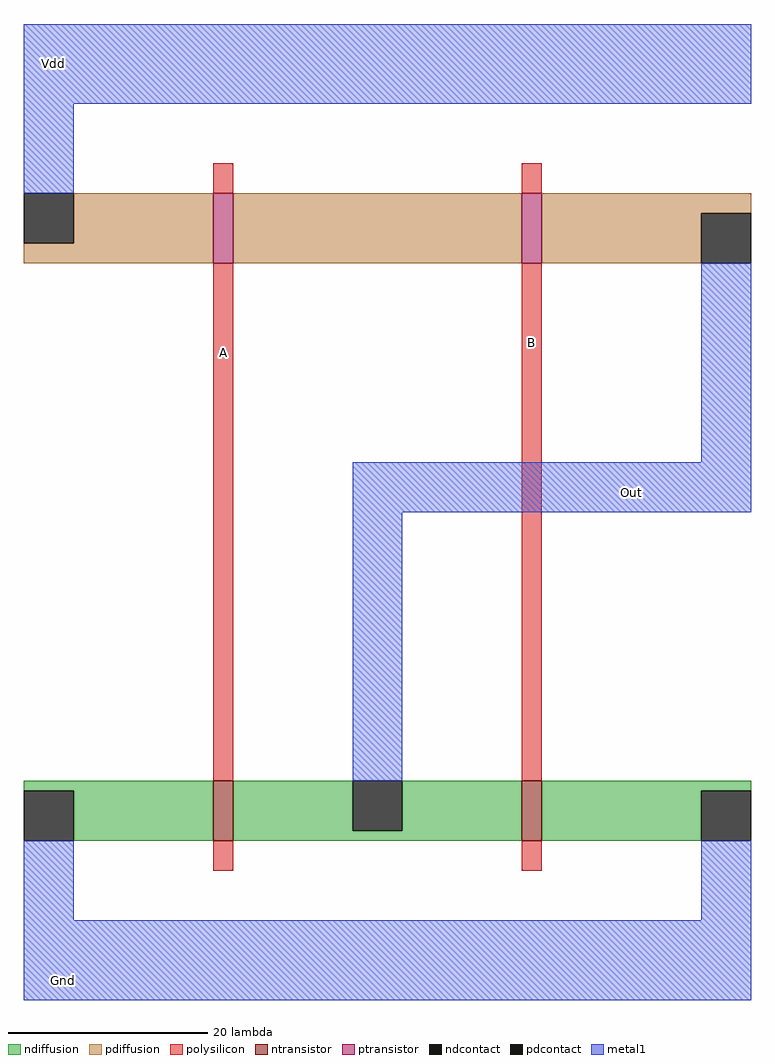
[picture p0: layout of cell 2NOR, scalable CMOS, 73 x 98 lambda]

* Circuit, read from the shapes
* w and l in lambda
.subckt 2NOR A B Gnd Out Vdd
M1 Out A Gnd VSUBS nfet w=6 l=2
M2 Gnd B Out VSUBS nfet w=6 l=2
M3 n1 A Vdd NWELL pfet w=7 l=2
M4 Out B n1 NWELL pfet w=7 l=2
.ends

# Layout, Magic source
magic
tech scmos
<< ntransistor >>
rect -1 -57 1 -51
rect 30 -57 32 -51
<< ptransistor >>
rect -1 1 1 8
rect 30 1 32 8
<< ndiffusion >>
rect -20 -52 -1 -51
rect -15 -57 -1 -52
rect 1 -56 13 -51
rect 18 -56 30 -51
rect 1 -57 30 -56
rect 32 -52 53 -51
rect 32 -57 48 -52
<< pdiffusion >>
rect -15 3 -1 8
rect -20 1 -1 3
rect 1 1 30 8
rect 32 6 53 8
rect 32 1 48 6
<< ndcontact >>
rect -20 -57 -15 -52
rect 13 -56 18 -51
rect 48 -57 53 -52
<< pdcontact >>
rect -20 3 -15 8
rect 48 1 53 6
<< polysilicon >>
rect -1 8 1 11
rect 30 8 32 11
rect -1 -51 1 1
rect 30 -51 32 1
rect -1 -60 1 -57
rect 30 -60 32 -57
<< metal1 >>
rect -20 17 53 25
rect -20 8 -15 17
rect 48 -19 53 1
rect 13 -24 53 -19
rect 13 -51 18 -24
rect -20 -65 -15 -57
rect 48 -65 53 -57
rect -20 -73 53 -65
<< labels >>
rlabel metal1 -17 21 -17 21 4 Vdd
rlabel metal1 -16 -71 -16 -71 2 Gnd
rlabel polysilicon 0 -8 0 -8 1 A
rlabel polysilicon 31 -7 31 -7 1 B
rlabel metal1 41 -22 41 -22 1 Out
<< end >>
